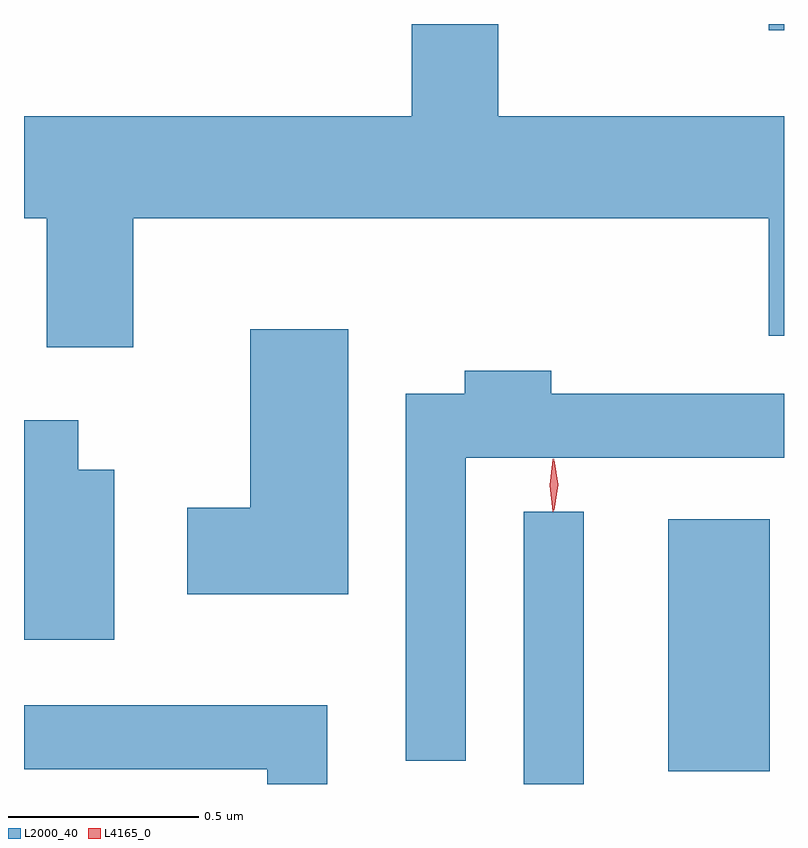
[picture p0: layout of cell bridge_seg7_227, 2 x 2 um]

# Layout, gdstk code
import gdstk
lib = gdstk.Library(unit=1e-6, precision=1e-09)
def R(c, l, rs):  # rectangles x0, y0, x1, y1
    for r in rs: c.add(gdstk.rectangle(r[:2], r[2:], *l))
def P(c, l, *ps):  # polygons
    for p in ps: c.add(gdstk.Polygon(p, *l))
L2000_40 = (2000, 40)
L4165_0 = (4165, 0)

bridge_seg7_227 = lib.new_cell('bridge_seg7_227')
R(bridge_seg7_227, L2000_40, [(1526.526,1670.647,1526.684,1671.363), (1526.906,1670.681,1527.174,1671.344), (1527.171,1672.631,1527.211,1672.647)])
P(bridge_seg7_227, L2000_40, [(1525.499,1672.136),(1527.171,1672.136),(1527.171,1671.826),(1527.211,1671.826),(1527.211,1672.404),(1526.459,1672.404),(1526.459,1672.647),(1526.231,1672.647),(1526.231,1672.404),(1525.211,1672.404),(1525.211,1672.136),(1525.271,1672.136),(1525.271,1671.796),(1525.499,1671.796)],
  [(1526.064,1671.844),(1525.806,1671.844),(1525.806,1671.374),(1525.641,1671.374),(1525.641,1671.146),(1526.064,1671.146)],
  [(1526.374,1671.506),(1527.211,1671.506),(1527.211,1671.674),(1526.599,1671.674),(1526.599,1671.734),(1526.371,1671.734),(1526.371,1671.674),(1526.216,1671.674),(1526.216,1670.708),(1526.374,1670.708)],
  [(1525.449,1671.474),(1525.354,1671.474),(1525.354,1671.604),(1525.211,1671.604),(1525.211,1671.026),(1525.449,1671.026)],
  [(1526.009,1670.854),(1525.211,1670.854),(1525.211,1670.686),(1525.851,1670.686),(1525.851,1670.647),(1526.009,1670.647)])
P(bridge_seg7_227, L4165_0, [(1526.603,1671.364),(1526.594,1671.433),(1526.603,1671.502),(1526.604,1671.503),(1526.604,1671.502),(1526.614,1671.433),(1526.604,1671.364),(1526.604,1671.364)],
  [(1526.606,1671.367),(1526.597,1671.434),(1526.606,1671.5),(1526.607,1671.501),(1526.607,1671.5),(1526.617,1671.434),(1526.607,1671.367),(1526.607,1671.367)])

lib.write_gds('bridge_seg7_227.gds')
